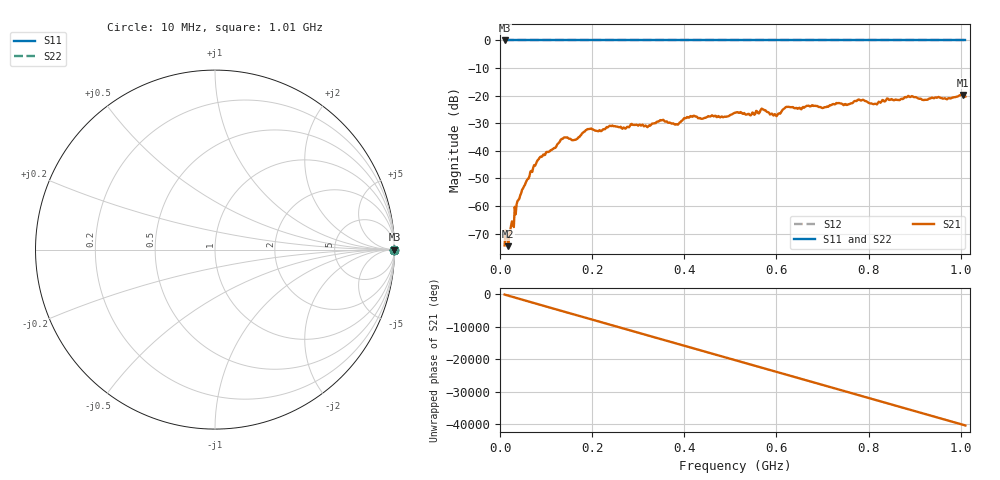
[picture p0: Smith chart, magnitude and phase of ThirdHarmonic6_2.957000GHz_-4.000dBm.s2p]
! 8/17/2025 8:19:53 AM
! C:\ANRITSUVNA\TEMP\TEMP.S2P
! CHANNEL.1
! TR.MEASUREMENT
! RAW.DATA
! RF.CORRECTION.OFF
! AVERAGING.OFF
! IF.BANDWIDTH: 5KHZ
! SWEEPTYPE:  FREQ.SWEEP(Linear)
! Reference Plane Port Info
! PORT:  PORT1  PORT2
! DISTANCE:  0  m  0  m
! TIME:  0  s  0  s
! PHASE.OFFSET:  0  deg.  0  deg.
! LOSS:  0  dB  0  dB
! REF.LOSS:  0  dB  0  dB
! REF.FREQ:  0  Hz  0  Hz
! Power Info
! POWER:  -20  dBm  -20  dBm
! EFF.POWER:  -20  dBm  -20  dBm
! SOURCE.ATTEN:  0  dB  0  dB
! TEST.ATTEN:  0  dB  0  dB
# GHZ S RI R 50.0
! FREQ.GHZ  S11RE  S11IM  S21RE  S21IM  S12RE  S12IM  S22RE  S22IM
!; PortSelection: Port_12
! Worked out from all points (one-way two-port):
!   501 points, 10 MHz to 1.01 GHz, reference 50 ohm
!   highest |S21| = -19.71 dB at 1.004 GHz (marker M1); lowest = -74.5 dB at 18 MHz (marker M2)
!   lowest |S11| = 0.0 dB at 10 MHz (marker M3)
!   |S11| at or under -10 dB: nowhere
!   |S22| runs from 0.0 to 0.0 dB; largest |S21 - S12| = 1.1
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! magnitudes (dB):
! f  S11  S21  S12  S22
! 10 MHz  0.0  -74.3  0.0  0.0
! 18 MHz  0.0  -74.5  0.0  0.0
! 40 MHz  0.0  -57.8  0.0  0.0
! 84 MHz  0.0  -43.0  0.0  0.0
! 136 MHz  0.0  -35.7  0.0  0.0
! 162 MHz  0.0  -36.0  0.0  0.0
! 178 MHz  0.0  -33.7  0.0  0.0
! 194 MHz  0.0  -32.1  0.0  0.0
! 322 MHz  0.0  -31.1  0.0  0.0
! 344 MHz  0.0  -29.4  0.0  0.0
! 384 MHz  0.0  -30.4  0.0  0.0
! 416 MHz  0.0  -27.5  0.0  0.0
! 510 MHz  0.0  -26.1  0.0  0.0
! 570 MHz  0.0  -24.9  0.0  0.0
! 598 MHz  0.0  -26.8  0.0  0.0
! 622 MHz  0.0  -24.0  0.0  0.0
! 678 MHz  0.0  -23.5  0.0  0.0
! 782 MHz  0.0  -21.7  0.0  0.0
! 814 MHz  0.0  -22.9  0.0  0.0
! 844 MHz  0.0  -21.5  0.0  0.0
! 1.004 GHz  0.0  -19.7  0.0  0.0
! 1.01 GHz  0.0  -20.3  0.0  0.0
